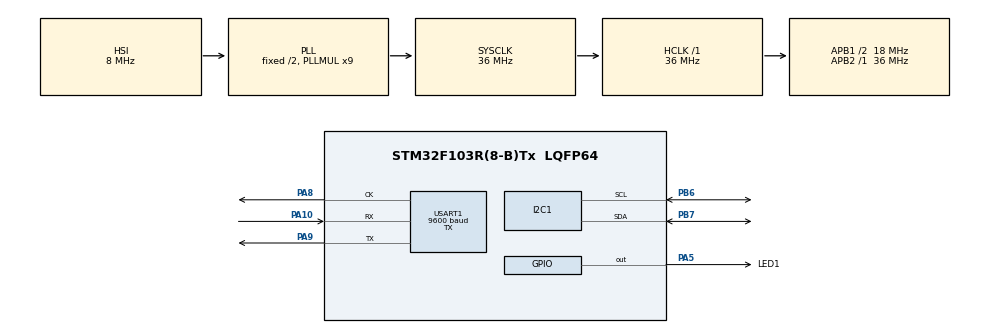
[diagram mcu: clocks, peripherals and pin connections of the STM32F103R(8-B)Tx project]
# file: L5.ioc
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Mcu.Family=STM32F1
Mcu.Name=STM32F103R(8-B)Tx
Mcu.Package=LQFP64
NVIC.PriorityGroup=NVIC_PRIORITYGROUP_4
PA10.Mode=Synchronous
PA10.Signal=USART1_RX
PA5.GPIO_Label=LED1
PA5.Signal=GPIO_Output
PA8.Mode=Synchronous
PA8.Signal=USART1_CK
PA9.Mode=Synchronous
PA9.Signal=USART1_TX
PB6.Mode=I2C
PB6.Signal=I2C1_SCL
PB7.Mode=I2C
PB7.Signal=I2C1_SDA
ProjectManager.HeapSize=0x200
ProjectManager.StackSize=0x400
ProjectManager.TargetToolchain=MDK-ARM V5.32
RCC.AHBFreq_Value=36000000
RCC.APB1CLKDivider=RCC_HCLK_DIV2
RCC.APB1Freq_Value=18000000
RCC.APB1TimFreq_Value=36000000
RCC.APB2Freq_Value=36000000
RCC.APB2TimFreq_Value=36000000
RCC.HCLKFreq_Value=36000000
RCC.PLLMUL=RCC_PLL_MUL9
RCC.SYSCLKFreq_VALUE=36000000
RCC.SYSCLKSource=RCC_SYSCLKSOURCE_PLLCLK
RCC.USBFreq_Value=36000000
USART1.BaudRate=9600
USART1.Mode=MODE_TX
USART1.VirtualMode=VM_SYNC
VP_SYS_VS_ND.Mode=No_Debug
board=custom

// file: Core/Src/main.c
/* USER CODE BEGIN Header */
/**
  ******************************************************************************
  * @file           : main.c
  * @brief          : Main program body
  ******************************************************************************
  * @attention
  *
  * Copyright (c) 2021 STMicroelectronics.
  * All rights reserved.
  *
  * This software is licensed under terms that can be found in the LICENSE file
  * in the root directory of this software component.
  * If no LICENSE file comes with this software, it is provided AS-IS.
  *
  ******************************************************************************
  */
/* USER CODE END Header */
#include "main.h"

I2C_HandleTypeDef hi2c1;

USART_HandleTypeDef husart1;

/* USER CODE BEGIN PV */
	uint16_t ax = 0, ay = 0, az = 0, gx = 0, gy = 0, gz = 0;
	float temp = 0.0;

/* USER CODE END PV */

void SystemClock_Config(void);
static void MX_GPIO_Init(void);
static void MX_I2C1_Init(void);
static void MX_USART1_Init(void);

/* USER CODE BEGIN 0 */
#define MPU9250_ADDRESS 0x68

#define MPU6050_ADDR 0xD0
#define SMPLRT_DIV_REG 0x19
#define GYRO_CONFIG_REG 0x1B
#define ACCEL_CONFIG_REG 0x1C
#define ACCEL_XOUT_H_REG 0x3B
#define TEMP_OUT_H_REG 0x41
#define GYRO_XOUT_H_REG 0x43
#define PWR_MGMT_1_REG 0x6B
#define WHO_AM_I_REG 0X75

void MPU6050_Init(void)
{
    uint8_t check, data;
    HAL_I2C_Mem_Read(&hi2c1, MPU6050_ADDR,WHO_AM_I_REG, 1, &check, 1, 1000);
    if(check == 104)
    {
				data = 0;
				HAL_I2C_Mem_Write(&hi2c1, MPU6050_ADDR, PWR_MGMT_1_REG, 1, &data, 1, 1000);

				data = 0x07;
        HAL_I2C_Mem_Write(&hi2c1, MPU6050_ADDR, SMPLRT_DIV_REG, 1, &data, 1, 1000);

				data = 0x00;
        HAL_I2C_Mem_Write(&hi2c1, MPU6050_ADDR, ACCEL_CONFIG_REG, 1, &data, 1, 1000);
        HAL_Delay(50);
				HAL_I2C_Mem_Write(&hi2c1, MPU6050_ADDR, GYRO_CONFIG_REG, 1, &data, 1, 1000);
        HAL_Delay(50);
    }
}

long map(long x, long in_min, long in_max, long out_min, long out_max)
{
  return (x - in_min) * (out_max - out_min) / (in_max - in_min) + out_min;
}

void read_accel(void)
{
		uint8_t rec_data[6];
		HAL_I2C_Mem_Read(&hi2c1, MPU6050_ADDR, ACCEL_XOUT_H_REG, 1, rec_data, 6, 1000);
		ax = (int16_t)(rec_data[0] << 8 | rec_data[1]);
		ay = (int16_t)(rec_data[2] << 8 | rec_data[3]);
		az = (int16_t)(rec_data[4] << 8 | rec_data [5]);

		ax = ax / 16384.0;
		ay = ay / 16384.0;
		az = az / 16384.0;
}

void read_gyro(void)
{
		uint8_t rec_data[6];
		HAL_I2C_Mem_Read(&hi2c1, MPU6050_ADDR, GYRO_XOUT_H_REG, 1, rec_data, 6, 1000);
		gx = -(int16_t)(rec_data[0] << 8 | rec_data[1]);
		gy = -(int16_t)(rec_data[2] << 8 | rec_data[3]);
		gz = (int16_t)(rec_data[4] << 8 | rec_data [5]);

		/*gx = map(gx, 0, 16648, 0, 90);//gx / 131.0;
		gy = map(gy, 0, 16648, 0, 90);//gy / 131.0;
		gz = map(gz, 0, 16648, 0, 90);//gz / 131.0;*/

		gx = gx / 131.0;
		gy = gy / 131.0;
		gz = gz / 131.0;
}

void read_temp(void)
{
		uint8_t rec_data[2];
		HAL_I2C_Mem_Read(&hi2c1, MPU6050_ADDR, TEMP_OUT_H_REG, 1, rec_data, 2, 1000);
    int tx = (int)(rec_data[0] << 8 | rec_data[1]);

		temp = (tx / 340) + 36.53;
	  //temp = (temp * 9 / 5) + 32;
}

/* USER CODE END 0 */

int main(void)
{

  /* MCU Configuration--------------------------------------------------------*/

  /* Reset of all peripherals, Initializes the Flash interface and the Systick. */
  HAL_Init();

  /* Configure the system clock */
  SystemClock_Config();

  /* Initialize all configured peripherals */
  MX_GPIO_Init();
  MX_I2C1_Init();
  MX_USART1_Init();
  /* USER CODE BEGIN 2 */
	MPU6050_Init();
  /* USER CODE END 2 */

  /* Infinite loop */
  while (1)
	{
			HAL_GPIO_TogglePin(LED1_GPIO_Port, LED1_Pin);
		  read_accel();
			read_temp();
		  read_gyro();
			uint8_t data[80];
			sprintf(data, "\n{ gx: %d, gy: %d, gz: %d, ax: %d, ay: %d, az: %d, temp: %f}", gx, gy, gz, ax, ay, az, temp);
			HAL_USART_Transmit(&husart1, data, strlen(data), 1000);
			HAL_Delay(100);
  }
}

void SystemClock_Config(void)
{
  RCC_OscInitTypeDef RCC_OscInitStruct = {0};
  RCC_ClkInitTypeDef RCC_ClkInitStruct = {0};

  /** Initializes the RCC Oscillators according to the specified parameters
  * in the RCC_OscInitTypeDef structure.
  */
  RCC_OscInitStruct.OscillatorType = RCC_OSCILLATORTYPE_HSI;
  RCC_OscInitStruct.HSIState = RCC_HSI_ON;
  RCC_OscInitStruct.HSICalibrationValue = RCC_HSICALIBRATION_DEFAULT;
  RCC_OscInitStruct.PLL.PLLState = RCC_PLL_ON;
  RCC_OscInitStruct.PLL.PLLSource = RCC_PLLSOURCE_HSI_DIV2;
  RCC_OscInitStruct.PLL.PLLMUL = RCC_PLL_MUL9;
  if (HAL_RCC_OscConfig(&RCC_OscInitStruct) != HAL_OK)
  {
    Error_Handler();
  }
  /** Initializes the CPU, AHB and APB buses clocks
  */
  RCC_ClkInitStruct.ClockType = RCC_CLOCKTYPE_HCLK|RCC_CLOCKTYPE_SYSCLK
                              |RCC_CLOCKTYPE_PCLK1|RCC_CLOCKTYPE_PCLK2;
  RCC_ClkInitStruct.SYSCLKSource = RCC_SYSCLKSOURCE_PLLCLK;
  RCC_ClkInitStruct.AHBCLKDivider = RCC_SYSCLK_DIV1;
  RCC_ClkInitStruct.APB1CLKDivider = RCC_HCLK_DIV2;
  RCC_ClkInitStruct.APB2CLKDivider = RCC_HCLK_DIV1;

  if (HAL_RCC_ClockConfig(&RCC_ClkInitStruct, FLASH_LATENCY_1) != HAL_OK)
  {
    Error_Handler();
  }
}

static void MX_I2C1_Init(void)
{

  hi2c1.Instance = I2C1;
  hi2c1.Init.ClockSpeed = 100000;
  hi2c1.Init.DutyCycle = I2C_DUTYCYCLE_2;
  hi2c1.Init.OwnAddress1 = 0;
  hi2c1.Init.AddressingMode = I2C_ADDRESSINGMODE_7BIT;
  hi2c1.Init.DualAddressMode = I2C_DUALADDRESS_DISABLE;
  hi2c1.Init.OwnAddress2 = 0;
  hi2c1.Init.GeneralCallMode = I2C_GENERALCALL_DISABLE;
  hi2c1.Init.NoStretchMode = I2C_NOSTRETCH_DISABLE;
  if (HAL_I2C_Init(&hi2c1) != HAL_OK)
  {
    Error_Handler();
  }

}

static void MX_USART1_Init(void)
{

  husart1.Instance = USART1;
  husart1.Init.BaudRate = 9600;
  husart1.Init.WordLength = USART_WORDLENGTH_8B;
  husart1.Init.StopBits = USART_STOPBITS_1;
  husart1.Init.Parity = USART_PARITY_NONE;
  husart1.Init.Mode = USART_MODE_TX;
  husart1.Init.CLKPolarity = USART_POLARITY_LOW;
  husart1.Init.CLKPhase = USART_PHASE_1EDGE;
  husart1.Init.CLKLastBit = USART_LASTBIT_DISABLE;
  if (HAL_USART_Init(&husart1) != HAL_OK)
  {
    Error_Handler();
  }

}

static void MX_GPIO_Init(void)
{
  GPIO_InitTypeDef GPIO_InitStruct = {0};

  /* GPIO Ports Clock Enable */
  __HAL_RCC_GPIOA_CLK_ENABLE();
  __HAL_RCC_GPIOB_CLK_ENABLE();

  /*Configure GPIO pin Output Level */
  HAL_GPIO_WritePin(LED1_GPIO_Port, LED1_Pin, GPIO_PIN_RESET);

  /*Configure GPIO pin : LED1_Pin */
  GPIO_InitStruct.Pin = LED1_Pin;
  GPIO_InitStruct.Mode = GPIO_MODE_OUTPUT_PP;
  GPIO_InitStruct.Pull = GPIO_NOPULL;
  GPIO_InitStruct.Speed = GPIO_SPEED_FREQ_LOW;
  HAL_GPIO_Init(LED1_GPIO_Port, &GPIO_InitStruct);

}

void Error_Handler(void)
{
  __disable_irq();
  while (1)
  {
  }
}
